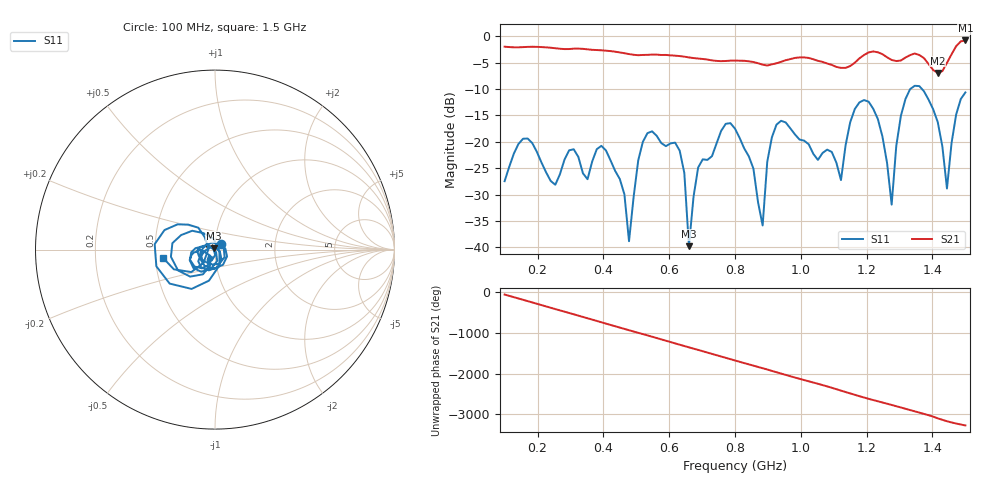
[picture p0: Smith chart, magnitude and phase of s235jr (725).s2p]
! NanoVNA-App
! Date: 2025-09-25 15:09:49
! Start: 100MHz Stop: 1,5GHz Points: 101
! S-Parameter data: F S11 S21 S12 S22
# Hz S RI R 50
!  Frequency  S11_Real  S11_Imag  S21_Real  S21_Imag  S12_Real  S12_Imag  S22_Real  S22_Imag
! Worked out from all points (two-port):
!   101 points, 100 MHz to 1.5 GHz, reference 50 ohm
!   highest |S21| = -0.78 dB at 1.5 GHz (marker M1); lowest = -7.0 dB at 1.416 GHz (marker M2)
!   |S21| within 3 dB of the highest: start of sweep to 636.9 MHz; 1.187 GHz to 1.257 GHz (70.74 MHz wide, 5.79 % of centre) (the widest 2 of 4)
!   lowest |S11| = -39.8 dB at 660 MHz (marker M3), VSWR 1.02, Z = 49.2 + j0.63 ohm
!   |S11| at or under -10 dB: start of sweep to 1.332 GHz; 1.368 GHz to end of sweep
!   S12 and S22 are empty: the file has one direction only
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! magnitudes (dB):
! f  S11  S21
! 100 MHz  -27.5  -2.0
! 156 MHz  -19.4  -2.0
! 338 MHz  -26.0  -2.4
! 408 MHz  -21.6  -2.7
! 478 MHz  -38.9  -3.4
! 520 MHz  -20.0  -3.5
! 576 MHz  -20.2  -3.5
! 632 MHz  -21.7  -3.7
! 660 MHz  -39.8  -4.0
! 688 MHz  -24.9  -4.2
! 800 MHz  -17.5  -4.6
! 884 MHz  -35.9  -5.4
! 926 MHz  -16.7  -5.1
! 1.038 GHz  -22.3  -4.4
! 1.122 GHz  -27.3  -6.0
! 1.164 GHz  -13.8  -5.0
! 1.206 GHz  -12.4  -3.1
! 1.276 GHz  -31.9  -4.5
! 1.332 GHz  -10.0  -3.6
! 1.416 GHz  -16.3  -7.0
! 1.444 GHz  -28.9  -5.0
! 1.5 GHz  -10.6  -0.8
